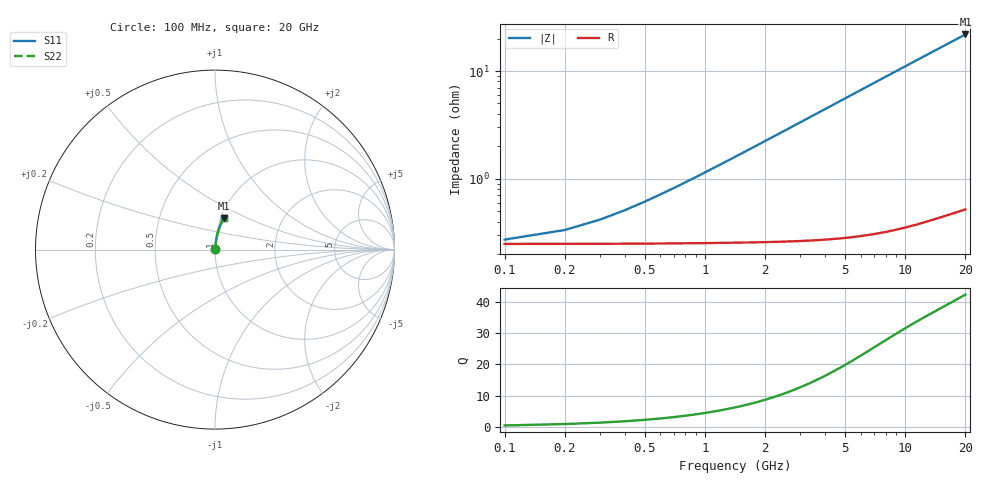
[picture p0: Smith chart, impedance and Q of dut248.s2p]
! Touchstone file exported from HFSS 2026.1.0
!  File:  C:/ffzhzh/LocalFiles/Ansys_Project_Files/temp_train_TSV_248_1782992795_6248.aedt
!  Generated:  07:49:47 PM Jul  2, 2026
!  Design:  TSV
!  Project:  temp_train_TSV_248_1782992795_6248
! Variables:
!  h_bsmrdl = 2um
!  h_ox = 20um
!  h_rdl = 5um
!  h_sub = 90.19um
!  h_tmrdl = 5um
!  h_tsv = 90.19um
!  h_via = 3um
!  l_bsmrdl = 300um
!  l_sub = 404.08um
!  l_tmrdl = 200um
!  m_sub = 200um
!  pitch = 53.16um
!  r_tsv = 2.04um
!  s_tmrdl = 10um
!  w_bsmrdl = 18um
!  w_sub = 500um
!  w_tmrdl = 12um
!  x_tsv_center1 = 206um
!  x_tsv_center2 = 524um
!  x_tsv_center3 = 736um
!  x_tsv_center4 = 1054um
!  x_tsv_center5 = 1266um
!  x_tsv_center6 = 1584um
# GHz S MA R 50.000000
! Terminal data exported
! Port[1] = TSV1_1_T1
! Port[2] = TSV1_1_T2
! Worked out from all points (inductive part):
!   200 points, 100 MHz to 20 GHz, reference 50 ohm
!   read as one part in series: L = 177 pH near 700 MHz
!   highest Q = 42.2 at 20 GHz (marker M1), where L = 174 pH
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0.1  0.002649 21.1  0.9975 -0.1  0.9975 -0.1  0.002649 21.1
! Gamma 0 0 0 0
! Port Impedance 50 0 50 0
0.2  0.003127 37.6  0.9975 -0.1  0.9975 -0.1  0.003127 37.6
0.4  0.00456 56.8  0.9975 -0.3  0.9975 -0.3  0.00456 56.8
0.5  0.005388 62.2  0.9975 -0.4  0.9975 -0.4  0.005388 62.2
0.7  0.007136 69.0  0.9975 -0.5  0.9975 -0.5  0.007136 69.0
0.8  0.008036 71.3  0.9975 -0.6  0.9975 -0.6  0.008036 71.3
1  0.009864 74.5  0.9974 -0.7  0.9974 -0.7  0.009864 74.5
1.3  0.01264 77.5  0.9974 -0.9  0.9974 -0.9  0.01264 77.5
1.7  0.01638 79.8  0.9973 -1.2  0.9973 -1.2  0.01638 79.8
2.2  0.02109 81.4  0.9972 -1.6  0.9972 -1.6  0.02109 81.4
2.8  0.02674 82.4  0.997 -2.0  0.997 -2.0  0.02674 82.4
3.5  0.03335 82.9  0.9968 -2.5  0.9968 -2.5  0.03335 82.9
4.2  0.03996 83.0  0.9965 -3.0  0.9965 -3.0  0.03996 83.0
5  0.04749 83.0  0.9961 -3.6  0.9961 -3.6  0.04749 83.0
5.9  0.05595 82.8  0.9955 -4.3  0.9955 -4.3  0.05595 82.8
6.8  0.06438 82.4  0.9949 -4.9  0.9949 -4.9  0.06438 82.4
8.3  0.07836 81.7  0.9937 -6.0  0.9937 -6.0  0.07836 81.7
10.1  0.095 80.6  0.992 -7.3  0.992 -7.3  0.095 80.6
11.7  0.1097 79.6  0.9902 -8.4  0.9902 -8.4  0.1097 79.6
13.4  0.1251 78.5  0.9881 -9.6  0.9881 -9.6  0.1251 78.5
16.7  0.1545 76.4  0.9834 -11.9  0.9834 -11.9  0.1545 76.4
20  0.1833 74.2  0.978 -14.2  0.978 -14.2  0.1833 74.2
